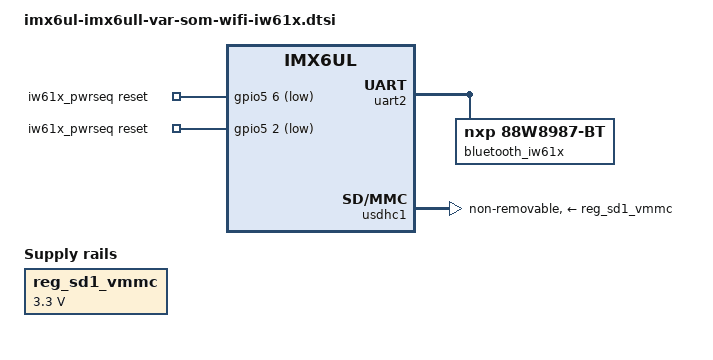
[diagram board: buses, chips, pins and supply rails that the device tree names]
// SPDX-License-Identifier: GPL-2.0+
/*
 * Copyright 2026 Variscite Ltd. - https://www.variscite.com
 */

/ {
	reg_sd1_vmmc: regulator-sd1-vmmc {
		compatible = "regulator-fixed";
		regulator-name = "VSD_3V3";
		regulator-min-microvolt = <3300000>;
		regulator-max-microvolt = <3300000>;
	};

	iw61x_pwrseq: mmc-pwrseq {
		compatible = "mmc-pwrseq-simple";
		post-power-on-delay-ms = <100>;
		power-off-delay-us = <10000>;
		reset-gpios = <&gpio5 6 GPIO_ACTIVE_LOW>, /* WIFI_RESET */
			      <&gpio5 2 GPIO_ACTIVE_LOW>; /* WIFI_PWR_EN */
	};
};

&tsc {
	status = "disabled";
};

&uart2 {
	bluetooth_iw61x: bluetooth {
		compatible = "nxp,88w8987-bt";
	};
};

&usdhc1 {
	#address-cells = <1>;
	#size-cells = <0>;
	pinctrl-names = "default", "state_100mhz", "state_200mhz";
	pinctrl-0 = <&pinctrl_usdhc1>, <&pinctrl_wifi>;
	pinctrl-1 = <&pinctrl_usdhc1_100mhz>, <&pinctrl_wifi>;
	pinctrl-2 = <&pinctrl_usdhc1_200mhz>, <&pinctrl_wifi>;
	keep-power-in-suspend;
	non-removable;
	vmmc-supply = <&reg_sd1_vmmc>;
	mmc-pwrseq = <&iw61x_pwrseq>;
	status = "okay";
};
